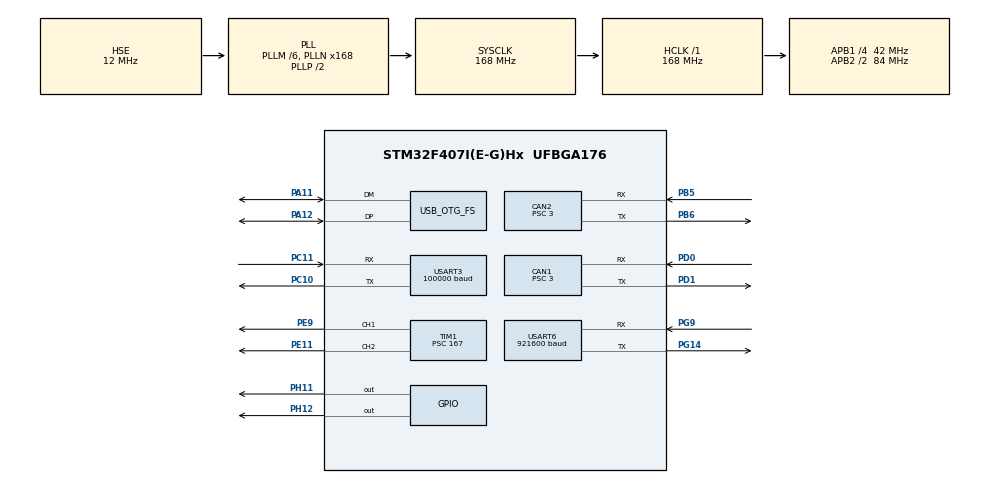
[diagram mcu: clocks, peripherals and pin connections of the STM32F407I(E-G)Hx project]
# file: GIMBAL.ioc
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CAN1.BS1=CAN_BS1_10TQ
CAN1.BS2=CAN_BS2_3TQ
CAN1.CalculateBaudRate=1000000
CAN1.CalculateTimeBit=1000
CAN1.CalculateTimeQuantum=71.42857142857143
CAN1.Prescaler=3
CAN2.BS1=CAN_BS1_10TQ
CAN2.BS2=CAN_BS2_3TQ
CAN2.CalculateBaudRate=1000000
CAN2.CalculateTimeBit=1000
CAN2.CalculateTimeQuantum=71.42857142857143
CAN2.Prescaler=3
Dma.Request0=USART3_RX
Dma.Request1=USART6_RX
Dma.Request2=USART6_TX
Dma.USART3_RX.0.Direction=DMA_PERIPH_TO_MEMORY
Dma.USART3_RX.0.FIFOMode=DMA_FIFOMODE_DISABLE
Dma.USART3_RX.0.Instance=DMA1_Stream1
Dma.USART3_RX.0.MemDataAlignment=DMA_MDATAALIGN_BYTE
Dma.USART3_RX.0.MemInc=DMA_MINC_ENABLE
Dma.USART3_RX.0.Mode=DMA_CIRCULAR
Dma.USART3_RX.0.PeriphDataAlignment=DMA_PDATAALIGN_BYTE
Dma.USART3_RX.0.PeriphInc=DMA_PINC_DISABLE
Dma.USART3_RX.0.Priority=DMA_PRIORITY_VERY_HIGH
Dma.USART6_RX.1.Direction=DMA_PERIPH_TO_MEMORY
Dma.USART6_RX.1.FIFOMode=DMA_FIFOMODE_DISABLE
Dma.USART6_RX.1.Instance=DMA2_Stream1
Dma.USART6_RX.1.MemDataAlignment=DMA_MDATAALIGN_BYTE
Dma.USART6_RX.1.MemInc=DMA_MINC_ENABLE
Dma.USART6_RX.1.Mode=DMA_CIRCULAR
Dma.USART6_RX.1.PeriphDataAlignment=DMA_PDATAALIGN_BYTE
Dma.USART6_RX.1.PeriphInc=DMA_PINC_DISABLE
Dma.USART6_RX.1.Priority=DMA_PRIORITY_VERY_HIGH
Dma.USART6_TX.2.Direction=DMA_MEMORY_TO_PERIPH
Dma.USART6_TX.2.FIFOMode=DMA_FIFOMODE_DISABLE
Dma.USART6_TX.2.Instance=DMA2_Stream6
Dma.USART6_TX.2.MemDataAlignment=DMA_MDATAALIGN_BYTE
Dma.USART6_TX.2.MemInc=DMA_MINC_ENABLE
Dma.USART6_TX.2.Mode=DMA_NORMAL
Dma.USART6_TX.2.PeriphDataAlignment=DMA_PDATAALIGN_BYTE
Dma.USART6_TX.2.PeriphInc=DMA_PINC_DISABLE
Dma.USART6_TX.2.Priority=DMA_PRIORITY_VERY_HIGH
FREERTOS.INCLUDE_eTaskGetState=1
FREERTOS.INCLUDE_pcTaskGetTaskName=1
FREERTOS.INCLUDE_uxTaskGetStackHighWaterMark=1
FREERTOS.INCLUDE_uxTaskGetStackHighWaterMark2=1
FREERTOS.INCLUDE_vTaskCleanUpResources=1
FREERTOS.INCLUDE_vTaskDelayUntil=1
FREERTOS.INCLUDE_xEventGroupSetBitFromISR=1
FREERTOS.INCLUDE_xQueueGetMutexHolder=1
FREERTOS.INCLUDE_xSemaphoreGetMutexHolder=1
FREERTOS.INCLUDE_xTaskAbortDelay=1
FREERTOS.INCLUDE_xTaskGetCurrentTaskHandle=1
FREERTOS.INCLUDE_xTaskGetHandle=1
FREERTOS.INCLUDE_xTimerPendFunctionCall=1
FREERTOS.Tasks01=test,2,128,test_task,As weak,NULL,Dynamic,NULL,NULL;myTask01,2,128,Shoot_task,As weak,NULL,Dynamic,NULL,NULL;myTask02,2,128,Gimbal_task,As weak,NULL,Dynamic,NULL,NULL;IMUTask,-3,512,INS_task,As weak,NULL,Dynamic,NULL,NULL
FREERTOS.configUSE_CO_ROUTINES=0
FREERTOS.configUSE_TIMERS=1
Mcu.Family=STM32F4
Mcu.Name=STM32F407I(E-G)Hx
Mcu.Package=UFBGA176
NVIC.CAN1_RX0_IRQn=true\:5\:0\:false\:false\:true\:true\:true\:true\:true
NVIC.CAN2_RX0_IRQn=true\:5\:0\:false\:false\:true\:true\:true\:true\:true
NVIC.DMA1_Stream1_IRQn=true\:5\:0\:false\:false\:true\:true\:false\:true\:true
NVIC.DMA2_Stream1_IRQn=true\:5\:0\:false\:false\:true\:true\:false\:true\:true
NVIC.DMA2_Stream6_IRQn=true\:5\:0\:false\:false\:true\:true\:false\:true\:true
NVIC.OTG_FS_IRQn=true\:5\:0\:false\:false\:true\:true\:true\:true\:true
NVIC.PriorityGroup=NVIC_PRIORITYGROUP_4
NVIC.TIM4_IRQn=true\:5\:0\:false\:false\:true\:true\:true\:true\:true
NVIC.TIM8_BRK_TIM12_IRQn=true\:15\:0\:false\:false\:true\:false\:false\:true\:true
NVIC.TimeBase=TIM8_BRK_TIM12_IRQn
NVIC.TimeBaseIP=TIM12
NVIC.USART3_IRQn=true\:5\:0\:false\:false\:true\:true\:true\:true\:true
NVIC.USART6_IRQn=true\:5\:0\:false\:false\:true\:true\:true\:true\:true
PA11.Mode=Device_Only
PA11.Signal=USB_OTG_FS_DM
PA12.Mode=Device_Only
PA12.Signal=USB_OTG_FS_DP
PA13.Mode=Serial_Wire
PA13.Signal=SYS_JTMS-SWDIO
PA14.Mode=Serial_Wire
PA14.Signal=SYS_JTCK-SWCLK
PB5.Mode=CAN_Activate
PB5.Signal=CAN2_RX
PB6.Mode=CAN_Activate
PB6.Signal=CAN2_TX
PC10.Mode=Asynchronous
PC10.Signal=USART3_TX
PC11.Mode=Asynchronous
PC11.Signal=USART3_RX
PD0.Mode=CAN_Activate
PD0.Signal=CAN1_RX
PD1.Mode=CAN_Activate
PD1.Signal=CAN1_TX
PE11.GPIO_PuPd=GPIO_PULLUP
PE11.GPIO_Speed=GPIO_SPEED_FREQ_HIGH
PE11.Signal=S_TIM1_CH2
PE9.GPIO_PuPd=GPIO_PULLUP
PE9.GPIO_Speed=GPIO_SPEED_FREQ_HIGH
PE9.Signal=S_TIM1_CH1
PG14.Mode=Asynchronous
PG14.Signal=USART6_TX
PG9.Mode=Asynchronous
PG9.Signal=USART6_RX
PH0-OSC_IN.Mode=HSE-External-Oscillator
PH0-OSC_IN.Signal=RCC_OSC_IN
PH1-OSC_OUT.Mode=HSE-External-Oscillator
PH1-OSC_OUT.Signal=RCC_OSC_OUT
PH11.Signal=GPIO_Output
PH12.Signal=GPIO_Output
ProjectManager.HeapSize=0x200
ProjectManager.StackSize=0x400
ProjectManager.TargetToolchain=MDK-ARM V5.32
RCC.48MHZClocksFreq_Value=48000000
RCC.AHBFreq_Value=168000000
RCC.APB1CLKDivider=RCC_HCLK_DIV4
RCC.APB1Freq_Value=42000000
RCC.APB1TimFreq_Value=84000000
RCC.APB2CLKDivider=RCC_HCLK_DIV2
RCC.APB2Freq_Value=84000000
RCC.APB2TimFreq_Value=168000000
RCC.CortexFreq_Value=168000000
RCC.HCLKFreq_Value=168000000
RCC.HSE_VALUE=12000000
RCC.HSI_VALUE=16000000
RCC.LSE_VALUE=32768
RCC.PLLM=6
RCC.PLLN=168
RCC.PLLQ=7
RCC.SYSCLKFreq_VALUE=168000000
RCC.SYSCLKSource=RCC_SYSCLKSOURCE_PLLCLK
RCC.VCOOutputFreq_Value=336000000
SH.S_TIM1_CH1.0=TIM1_CH1,PWM Generation1 CH1
SH.S_TIM1_CH2.0=TIM1_CH2,PWM Generation2 CH2
TIM1.Channel-PWM\ Generation1\ CH1=TIM_CHANNEL_1
TIM1.Channel-PWM\ Generation2\ CH2=TIM_CHANNEL_2
TIM1.Period=19999
TIM1.Prescaler=167
TIM1.Pulse-PWM\ Generation1\ CH1=2000
TIM1.Pulse-PWM\ Generation2\ CH2=2000
TIM4.Period=5000
TIM4.Prescaler=16800
USART3.BaudRate=100000
USART3.Parity=PARITY_EVEN
USART3.VirtualMode=VM_ASYNC
USART6.BaudRate=921600
USART6.VirtualMode=VM_ASYNC
USB_DEVICE.CLASS_NAME_FS=CDC
USB_DEVICE.VirtualMode-CDC_FS=Cdc
USB_DEVICE.VirtualModeFS=Cdc_FS
USB_OTG_FS.VirtualMode=Device_Only
VP_FREERTOS_VS_CMSIS_V1.Mode=CMSIS_V1
VP_SYS_VS_tim12.Mode=TIM12
VP_TIM1_VS_ClockSourceINT.Mode=Internal
VP_TIM4_VS_ClockSourceINT.Mode=Internal
VP_USB_DEVICE_VS_USB_DEVICE_CDC_FS.Mode=CDC_FS
board=custom

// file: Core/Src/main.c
/* USER CODE BEGIN Header */
/**
  ******************************************************************************
  * @file           : main.c
  * @brief          : Main program body
  ******************************************************************************
  * @attention
  *
  * Copyright (c) 2024 STMicroelectronics.
  * All rights reserved.
  *
  * This software is licensed under terms that can be found in the LICENSE file
  * in the root directory of this software component.
  * If no LICENSE file comes with this software, it is provided AS-IS.
  *
  ******************************************************************************
  */
/* USER CODE END Header */
#include "main.h"
#include "cmsis_os.h"
#include "can.h"
#include "dma.h"
#include "tim.h"
#include "usart.h"
#include "usb_device.h"
#include "gpio.h"

/* USER CODE BEGIN Includes */
#include "bsp_can.h"
#include "pid.h"
#include "DM4310.h"
#include "HWT606.h"
/* USER CODE END Includes */

/* USER CODE BEGIN PTD */
RC_ctrl_t rc_ctrl;
Direc_Struct direc;
Motor_struct motor;
extern DM4310_TypeDef DM4310;
int time1=1000,time2=2100;
/* USER CODE END PTD */

void SystemClock_Config(void);
void MX_FREERTOS_Init(void);

int main(void)
{

  /* MCU Configuration--------------------------------------------------------*/

  /* Reset of all peripherals, Initializes the Flash interface and the Systick. */
  HAL_Init();

  /* USER CODE BEGIN Init */
  Pitch_PID_Init(&motor.Gimbal_Pitch);
  Wheel_PID_Init(&motor.Motor1);
  Wheel_PID_Init(&motor.Motor2);
  Wheel_PID_Init(&motor.Motor3);
  Wheel_PID_Init(&motor.Motor4);
  /* USER CODE END Init */

  /* Configure the system clock */
  SystemClock_Config();

  /* Initialize all configured peripherals */
  MX_GPIO_Init();
  MX_DMA_Init();
  MX_CAN1_Init();
  MX_CAN2_Init();
  MX_USART3_UART_Init();
  MX_TIM1_Init();
  MX_USART6_UART_Init();
  MX_TIM4_Init();
  /* USER CODE BEGIN 2 */
  can_filter_init();
//  can_filter_init_recv_all(&hcan1);
//  can_filter_init_recv_all(&hcan2);
//  __HAL_CAN_ENABLE_IT(&hcan1, CAN_IT_RX_FIFO0_MSG_PENDING);
//  __HAL_CAN_ENABLE_IT(&hcan2, CAN_IT_RX_FIFO0_MSG_PENDING);
//  HAL_CAN_Start(&hcan1);
//  HAL_CAN_Start(&hcan2);
  MX_USB_DEVICE_Init();
  HAL_TIM_Base_Start(&htim1);
  HAL_TIM_Base_Start_IT(&htim4);
  HAL_TIM_PWM_Start(&htim1, TIM_CHANNEL_1);
  HAL_TIM_PWM_Start(&htim1, TIM_CHANNEL_2);
  __HAL_TIM_SetCompare(&htim1, TIM_CHANNEL_1, 1500);
  __HAL_TIM_SetCompare(&htim1, TIM_CHANNEL_2, 2100);
 IMU_Init();
 zero_yaw();//HAL_Delay(
  /* USER CODE END 2 */

  /* Call init function for freertos objects (in cmsis_os2.c) */
  MX_FREERTOS_Init();

  /* Start scheduler */
  osKernelStart();

  /* We should never get here as control is now taken by the scheduler */

  /* Infinite loop */
  while (1)
  {

  }
}

void SystemClock_Config(void)
{
  RCC_OscInitTypeDef RCC_OscInitStruct = {0};
  RCC_ClkInitTypeDef RCC_ClkInitStruct = {0};

  /** Configure the main internal regulator output voltage
  */
  __HAL_RCC_PWR_CLK_ENABLE();
  __HAL_PWR_VOLTAGESCALING_CONFIG(PWR_REGULATOR_VOLTAGE_SCALE1);

  /** Initializes the RCC Oscillators according to the specified parameters
  * in the RCC_OscInitTypeDef structure.
  */
  RCC_OscInitStruct.OscillatorType = RCC_OSCILLATORTYPE_HSE;
  RCC_OscInitStruct.HSEState = RCC_HSE_ON;
  RCC_OscInitStruct.PLL.PLLState = RCC_PLL_ON;
  RCC_OscInitStruct.PLL.PLLSource = RCC_PLLSOURCE_HSE;
  RCC_OscInitStruct.PLL.PLLM = 6;
  RCC_OscInitStruct.PLL.PLLN = 168;
  RCC_OscInitStruct.PLL.PLLP = RCC_PLLP_DIV2;
  RCC_OscInitStruct.PLL.PLLQ = 7;
  if (HAL_RCC_OscConfig(&RCC_OscInitStruct) != HAL_OK)
  {
    Error_Handler();
  }

  /** Initializes the CPU, AHB and APB buses clocks
  */
  RCC_ClkInitStruct.ClockType = RCC_CLOCKTYPE_HCLK|RCC_CLOCKTYPE_SYSCLK
                              |RCC_CLOCKTYPE_PCLK1|RCC_CLOCKTYPE_PCLK2;
  RCC_ClkInitStruct.SYSCLKSource = RCC_SYSCLKSOURCE_PLLCLK;
  RCC_ClkInitStruct.AHBCLKDivider = RCC_SYSCLK_DIV1;
  RCC_ClkInitStruct.APB1CLKDivider = RCC_HCLK_DIV4;
  RCC_ClkInitStruct.APB2CLKDivider = RCC_HCLK_DIV2;

  if (HAL_RCC_ClockConfig(&RCC_ClkInitStruct, FLASH_LATENCY_5) != HAL_OK)
  {
    Error_Handler();
  }
}

void HAL_TIM_PeriodElapsedCallback(TIM_HandleTypeDef *htim)
{
  /* USER CODE BEGIN Callback 0 */
  if(htim->Instance == TIM4)
  {
	  Frequency_calc();
  }
  /* USER CODE END Callback 0 */
  if (htim->Instance == TIM12) {
    HAL_IncTick();
  }
}

void Error_Handler(void)
{
  __disable_irq();
  while (1)
  {
  }
}

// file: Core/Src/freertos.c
/* USER CODE BEGIN Header */
/**
  ******************************************************************************
  * File Name          : freertos.c
  * Description        : Code for freertos applications
  ******************************************************************************
  * @attention
  *
  * Copyright (c) 2024 STMicroelectronics.
  * All rights reserved.
  *
  * This software is licensed under terms that can be found in the LICENSE file
  * in the root directory of this software component.
  * If no LICENSE file comes with this software, it is provided AS-IS.
  *
  ******************************************************************************
  */
/* USER CODE END Header */

#include "FreeRTOS.h"
#include "task.h"
#include "main.h"
#include "cmsis_os.h"

osThreadId testHandle;
osThreadId myTask01Handle;
osThreadId myTask02Handle;
osThreadId IMUTaskHandle;

void test_task(void const * argument);
void Shoot_task(void const * argument);
void Gimbal_task(void const * argument);
void INS_task(void const * argument);

extern void MX_USB_DEVICE_Init(void);
void MX_FREERTOS_Init(void); /* (MISRA C 2004 rule 8.1) */

/* GetIdleTaskMemory prototype (linked to static allocation support) */
void vApplicationGetIdleTaskMemory( StaticTask_t **ppxIdleTaskTCBBuffer, StackType_t **ppxIdleTaskStackBuffer, uint32_t *pulIdleTaskStackSize );

/* GetTimerTaskMemory prototype (linked to static allocation support) */
void vApplicationGetTimerTaskMemory( StaticTask_t **ppxTimerTaskTCBBuffer, StackType_t **ppxTimerTaskStackBuffer, uint32_t *pulTimerTaskStackSize );

/* USER CODE BEGIN GET_IDLE_TASK_MEMORY */
static StaticTask_t xIdleTaskTCBBuffer;
static StackType_t xIdleStack[configMINIMAL_STACK_SIZE];

void vApplicationGetIdleTaskMemory( StaticTask_t **ppxIdleTaskTCBBuffer, StackType_t **ppxIdleTaskStackBuffer, uint32_t *pulIdleTaskStackSize )
{
  *ppxIdleTaskTCBBuffer = &xIdleTaskTCBBuffer;
  *ppxIdleTaskStackBuffer = &xIdleStack[0];
  *pulIdleTaskStackSize = configMINIMAL_STACK_SIZE;
  /* place for user code */
}
/* USER CODE END GET_IDLE_TASK_MEMORY */

/* USER CODE BEGIN GET_TIMER_TASK_MEMORY */
static StaticTask_t xTimerTaskTCBBuffer;
static StackType_t xTimerStack[configTIMER_TASK_STACK_DEPTH];

void vApplicationGetTimerTaskMemory( StaticTask_t **ppxTimerTaskTCBBuffer, StackType_t **ppxTimerTaskStackBuffer, uint32_t *pulTimerTaskStackSize )
{
  *ppxTimerTaskTCBBuffer = &xTimerTaskTCBBuffer;
  *ppxTimerTaskStackBuffer = &xTimerStack[0];
  *pulTimerTaskStackSize = configTIMER_TASK_STACK_DEPTH;
  /* place for user code */
}
/* USER CODE END GET_TIMER_TASK_MEMORY */

void MX_FREERTOS_Init(void) {

  /* Create the thread(s) */
  /* definition and creation of test */
  osThreadDef(test, test_task, osPriorityHigh, 0, 128);
  testHandle = osThreadCreate(osThread(test), NULL);

  /* definition and creation of myTask01 */
  osThreadDef(myTask01, Shoot_task, osPriorityHigh, 0, 128);
  myTask01Handle = osThreadCreate(osThread(myTask01), NULL);

  /* definition and creation of myTask02 */
  osThreadDef(myTask02, Gimbal_task, osPriorityHigh, 0, 128);
  myTask02Handle = osThreadCreate(osThread(myTask02), NULL);

  /* definition and creation of IMUTask */
  osThreadDef(IMUTask, INS_task, osPriorityIdle, 0, 512);
  IMUTaskHandle = osThreadCreate(osThread(IMUTask), NULL);

}

__weak void test_task(void const * argument)
{
  /* init code for USB_DEVICE */
  MX_USB_DEVICE_Init();
  for(;;)
  {
    osDelay(1);
  }
}

__weak void Shoot_task(void const * argument)
{
  for(;;)
  {
    osDelay(1);
  }
}

__weak void Gimbal_task(void const * argument)
{
  for(;;)
  {
    osDelay(1);
  }
}

__weak void INS_task(void const * argument)
{
  for(;;)
  {
    osDelay(1);
  }
}
